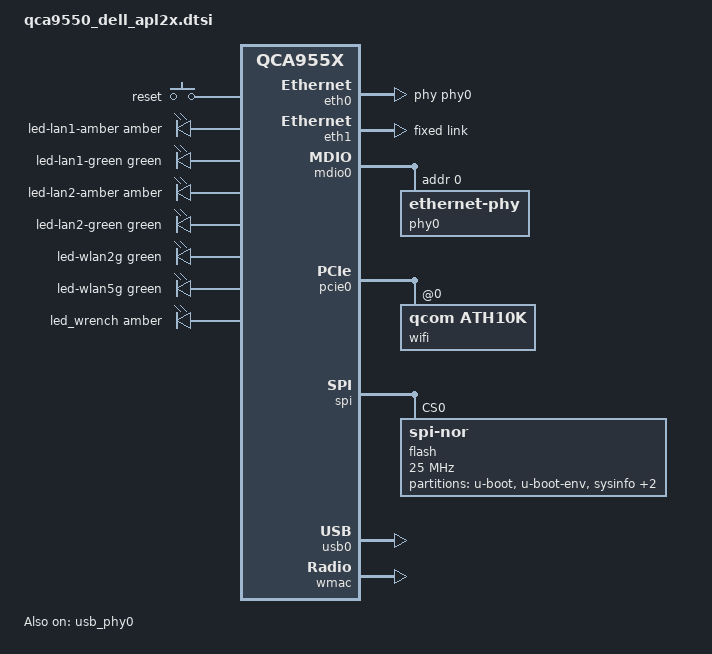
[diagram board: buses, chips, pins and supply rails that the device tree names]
// SPDX-License-Identifier: GPL-2.0-or-later OR MIT

#include <dt-bindings/gpio/gpio.h>
#include <dt-bindings/input/input.h>
#include <dt-bindings/leds/common.h>

#include "qca955x.dtsi"

/ {
	aliases {
		label-mac-device = &eth0;
		led-boot = &led_wrench;
		led-failsafe = &led_wrench;
		led-upgrade = &led_wrench;
	};

	keys {
		compatible = "gpio-keys";

		button-reset {
			label = "reset";
			linux,code = <KEY_RESTART>;
		};
	};

	leds {
		compatible = "gpio-leds";
		pinctrl-names = "default";
		pinctrl-0 = <&jtag_disable_pins>;

		led-lan1-amber {
			color = <LED_COLOR_ID_AMBER>;
			function = LED_FUNCTION_LAN;
			function-enumerator = <1>;
		};

		led-lan1-green {
			color = <LED_COLOR_ID_GREEN>;
			function = LED_FUNCTION_LAN;
			function-enumerator = <1>;
		};

		led-lan2-amber {
			color = <LED_COLOR_ID_AMBER>;
			function = LED_FUNCTION_LAN;
			function-enumerator = <2>;
		};

		led-lan2-green {
			color = <LED_COLOR_ID_GREEN>;
			function = LED_FUNCTION_LAN;
			function-enumerator = <2>;
		};

		led-wlan2g {
			color = <LED_COLOR_ID_GREEN>;
			function = LED_FUNCTION_WLAN_2GHZ;
			linux,default-trigger = "phy1tpt";
		};

		led-wlan5g {
			color = <LED_COLOR_ID_GREEN>;
			function = LED_FUNCTION_WLAN_5GHZ;
			linux,default-trigger = "phy0tpt";
		};

		led_wrench: led-wrench {
			color = <LED_COLOR_ID_AMBER>;
			function = LED_FUNCTION_STATUS;
		};
	};
};

&eth0 {
	status = "okay";

	nvmem-cells = <&macaddr_sysinfo_50 0>;
	nvmem-cell-names = "mac-address";
	phy-handle = <&phy0>;
	pll-data = <0xa6000000 0x00000101 0x00001616>;
};

&eth1 {
	status = "okay";

	nvmem-cells = <&macaddr_sysinfo_50 1>;
	nvmem-cell-names = "mac-address";
	pll-data = <0x03000101 0x00000101 0x00001616>;

	fixed-link {
		speed = <1000>;
		full-duplex;
	};
};

&mdio0 {
	status = "okay";

	phy0: ethernet-phy@0 {
		reg = <0>;

		qca,ar8327-initvals = <
			0x04 0x07680000 /* PORT0 PAD MODE CTRL */
			0x0c 0x00000080 /* PORT6 PAD MODE CTRL */
			0x10 0x40000000 /* POWER_ON_STRAP */
			0x50 0xffb7c405 /* LED0 CTRL */
			0x54 0xffb7c305 /* LED1 CTRL */
			0x58 0xffb7c033 /* LED2 CTRL */
			0x5c 0x03ffff00 /* LED3 CTRL */
			0x7c 0x0000007e /* PORT0_STATUS */
			0x94 0x0000007e /* PORT6_STATUS */
		>;
	};
};

&pcie0 {
	status = "okay";

	wifi@0,0 {
		compatible = "qcom,ath10k";
		reg = <0x0000 0 0 0 0>;
	};
};

&spi {
	status = "okay";

	flash@0 {
		compatible = "jedec,spi-nor";
		reg = <0>;
		spi-max-frequency = <25000000>;
		#address-cells = <1>;
		#size-cells = <1>;

		partitions {
			compatible = "fixed-partitions";
			#address-cells = <1>;
			#size-cells = <1>;

			partition@0 {
				label = "u-boot";
				reg = <0x0000000 0x0080000>;
				read-only;
			};

			partition@80000 {
				label = "u-boot-env";
				reg = <0x0080000 0x0040000>;
			};

			partition@c0000 {
				label = "sysinfo";
				reg = <0x00c0000 0x0040000>;
				read-only;

				nvmem-layout {
					compatible = "fixed-layout";
					#address-cells = <1>;
					#size-cells = <1>;

					macaddr_sysinfo_50: macaddr@50 {
						compatible = "mac-base";
						reg = <0x50 0x6>;
						#nvmem-cell-cells = <1>;
					};
				};
			};

			partition@100000 {
				label = "art";
				reg = <0x0100000 0x0010000>;
				read-only;

				nvmem-layout {
					compatible = "fixed-layout";
					#address-cells = <1>;
					#size-cells = <1>;

					cal_art_1000: calibration@1000 {
						reg = <0x1000 0x440>;
					};
				};
			};

			partition@110000 {
				label = "firmware";
				reg = <0x0110000 0x1ef0000>;
				compatible = "denx,uimage";
			};
		};
	};
};

&usb_phy0 {
	status = "okay";
};

&usb0 {
	status = "okay";
};

&wmac {
	status = "okay";

	nvmem-cells = <&macaddr_sysinfo_50 10>, <&cal_art_1000>;
	nvmem-cell-names = "mac-address", "calibration";
};
